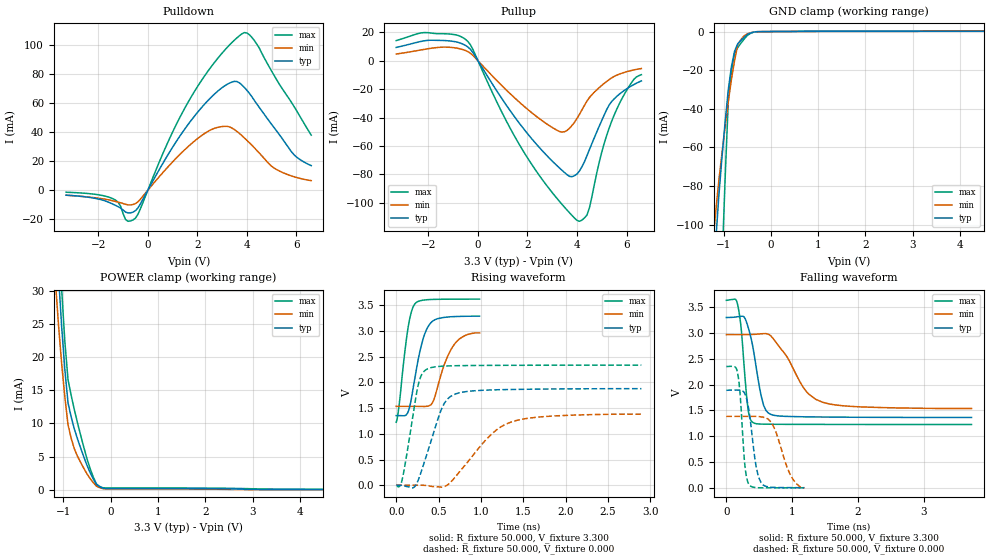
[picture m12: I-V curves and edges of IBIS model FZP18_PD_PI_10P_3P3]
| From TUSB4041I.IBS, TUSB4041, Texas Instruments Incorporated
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|   Model Cell FZP18_PD_PI_10P_3P3
|BC3340DSHYPBFZP18_PD_PI_10P_3P3
[Model]   FZP18_PD_PI_10P_3P3
Model_type   I/O
Polarity   Non-Inverting
Enable   Active-Low
Vinl =  0.8V
Vinh =  2V
Cref =  7pF
Rref =  100.00M
Vref =  0V
Vmeas =  1.65
C_comp   1.726631p   1.582948p   1.812054p
[Model Spec]
Vinl   0.8V   0.8V   0.8V
Vinh   2V   2V   2V
[Temperature Range]   25   125   -40
[Voltage Range]   3.3   2.97   3.63
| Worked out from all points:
|   slope of the pulldown table from 0 to 0.495 V, typ, clamps not added: 32.6 ohm
|   slope of the pullup table from 0 to 0.495 V, typ, clamps not added: 35.4 ohm
|   GND clamp passes 1 mA (typ) near -0.45 V on its own axis
|   POWER clamp passes 1 mA (typ) near -0.32 V on its own axis
|   rising waveform, R_fixture 50.000, V_fixture 3.300: 20-80 % time 143ps typ, 187ps min, 103ps max; typ from 1.35 V to 3.29 V
|   rising waveform, R_fixture 50.000, V_fixture 0.000: 20-80 % time 223ps typ, 453ps min, 139ps max; typ from 0 V to 1.88 V
|   falling waveform, R_fixture 50.000, V_fixture 3.300: 20-80 % time 163ps typ, 411ps min, 93.4ps max; typ from 3.3 V to 1.36 V
|   falling waveform, R_fixture 50.000, V_fixture 0.000: 20-80 % time 117ps typ, 220ps min, 74.1ps max; typ from 1.89 V to 0.003 V
[POWER_clamp]
|   voltage   I(typ)   I(min)   I(max)
-3.3V     369.7mA    284.8mA    471.9mA
-1.167V   41.13mA    31.49mA    51.34mA
-1.1V     32.27mA    24.8mA     40.05mA
-1.033V   24.52mA    18.96mA    30.17mA
-966.7mV  18.14mA    13.96mA    22.36mA
-900mV    13.12mA    9.805mA    16.61mA
-766.7mV  9.178mA    6.172mA    12.09mA
-500mV    3.69mA     2.39mA     4.685mA
-300mV    797.6uA    532.6uA    856.4uA
-233.3mV  432uA      294.9uA    485.4uA
-100mV    167.7uA    106uA      249.3uA
6.6V      0A         0A         0A
[Pulldown]
|   voltage   I(typ)   I(min)   I(max)
-3.3V     -3.365mA   -3.408mA   -1.35mA
-1.5V     -8.823mA   -6.868mA   -5.16mA
-1.2V     -11.25mA   -8.144mA   -8.194mA
-900mV    -14.96mA   -9.653mA   -20.06mA
-500mV    -14.05mA   -9.144mA   -19.19mA
1.1V      32.18mA    21.23mA    43.46mA
2.4V      61.1mA     40.13mA    81.13mA
3.4V      74.34mA    42.73mA    101.5mA
3.9V      70.64mA    35.96mA    108.3mA
5.1V      43.02mA    15.26mA    78.93mA
5.9V      24.48mA    9.306mA    57.71mA
6.6V      16.92mA    6.609mA    37.85mA
[Pullup]
|   voltage   I(typ)   I(min)   I(max)
-3.3V     9.309mA    4.668mA    14.12mA
-2.1V     14.15mA    8.14mA     19.77mA
-400mV    9.542mA    6.3mA      13.38mA
1.5V      -39.97mA   -26.45mA   -53.78mA
3.1V      -72.31mA   -48.02mA   -94.94mA
3.6V      -80.23mA   -49.04mA   -105.1mA
4.1V      -77.58mA   -37.73mA   -113mA
4.5V      -62.66mA   -25.98mA   -103.7mA
5V        -42.07mA   -17.41mA   -64.41mA
5.5V      -26.88mA   -11.08mA   -38.35mA
6.2V      -17.74mA   -6.877mA   -15.47mA
6.6V      -14.22mA   -5.549mA   -9.882mA
[GND_clamp]
|   voltage   I(typ)   I(min)   I(max)
-3.3V     -996.3mA   -831.9mA   -2.048A
-1.233V   -134.2mA   -111.3mA   -283.3mA
-1.167V   -109.2mA   -93.7mA    -227.4mA
-1.1V     -85.33mA   -77.41mA   -172.4mA
-1.033V   -65.26mA   -63.15mA   -121.7mA
-966.7mV  -46.88mA   -49.46mA   -76.33mA
-900mV    -30.19mA   -36.36mA   -36.22mA
-833.3mV  -18.13mA   -24.82mA   -20.42mA
-766.7mV  -10.18mA   -15.02mA   -11.12mA
-700mV    -6.333mA   -6.945mA   -8.328mA
-500mV    -1.622mA   -1.243mA   -2.066mA
6.6V      163.1uA    401.7uA    247.3uA
[Ramp]
| variable   typ   min   max
dV/dt_f   1.180282/0.1658335n  0.8591166/0.4354199n   1.456844/94.44807p
dV/dt_r   1.164899/0.2297027n   0.849007/0.4872346n   1.446725/0.140298n
R_load = 50
[Rising Waveform]
R_fixture = 50.000
V_fixture = 3.300
V_fixture_min = 2.970
V_fixture_max = 3.630
|  time   V(typ)   V(min)   V(max)
0s        1.355V     1.535V     1.224V
34.5ps    1.355V     1.535V     1.562V
135ps     1.408V     1.535V     3.013V
213ps     2.014V     1.535V     3.512V
312ps     2.816V     1.533V     3.6V
406.5ps   3.157V     1.562V     3.615V
577.5ps   3.268V     2.39V      3.62V
676.5ps   3.281V     2.719V     3.621V
810ps     3.288V     2.911V     3.621V
984ps     3.29V      2.965V     3.622V
[Rising Waveform]
R_fixture = 50.000
V_fixture = 0.000
V_fixture_min = 0.000
V_fixture_max = 0.000
|  time   V(typ)   V(min)   V(max)
0s        220.6uV    6.917uV    -1.188mV
70.5ps    -3.234mV   -4.707uV   107.8mV
223.5ps   -18.98mV   44.77uV    1.624V
288ps     227.8mV    -110.1uV   2.107V
373.5ps   662.5mV    -9.044mV   2.268V
567ps     1.592V     -28.21mV   2.319V
736.5ps   1.795V     238.5mV    2.327V
1.113ns   1.854V     975.1mV    2.332V
1.355ns   1.863V     1.229V     2.334V
2.894ns   1.879V     1.383V     2.337V
[Falling Waveform]
R_fixture = 50.000
V_fixture = 3.300
V_fixture_min = 2.970
V_fixture_max = 3.630
|  time   V(typ)   V(min)   V(max)
0s        3.296V     2.965V     3.629V
180ps     3.313V     2.964V     3.499V
229.5ps   3.321V     2.965V     3.035V
331.5ps   3.107V     2.967V     1.511V
418.5ps   2.617V     2.97V      1.255V
565.5ps   1.602V     2.984V     1.233V
711ps     1.407V     2.891V     1.231V
1.182ns   1.375V     1.922V     1.228V
1.46ns    1.371V     1.658V     1.228V
3.728ns   1.362V     1.535V     1.226V
[Falling Waveform]
R_fixture = 50.000
V_fixture = 0.000
V_fixture_min = 0.000
V_fixture_max = 0.000
|  time   V(typ)   V(min)   V(max)
0s        1.888V     1.383V     2.348V
171ps     1.892V     1.383V     2.226V
205.5ps   1.887V     1.383V     1.878V
283.5ps   1.817V     1.384V     417mV
345ps     1.489V     1.384V     62.47mV
451.5ps   425.6mV    1.383V     4.954mV
529.5ps   100.8mV    1.374V     913.2uV
684ps     12.58mV    1.263V     108.8uV
967.5ps   4.291mV    268.9mV    80.88uV
1.188ns   3.174mV    6.917uV    62.97uV
